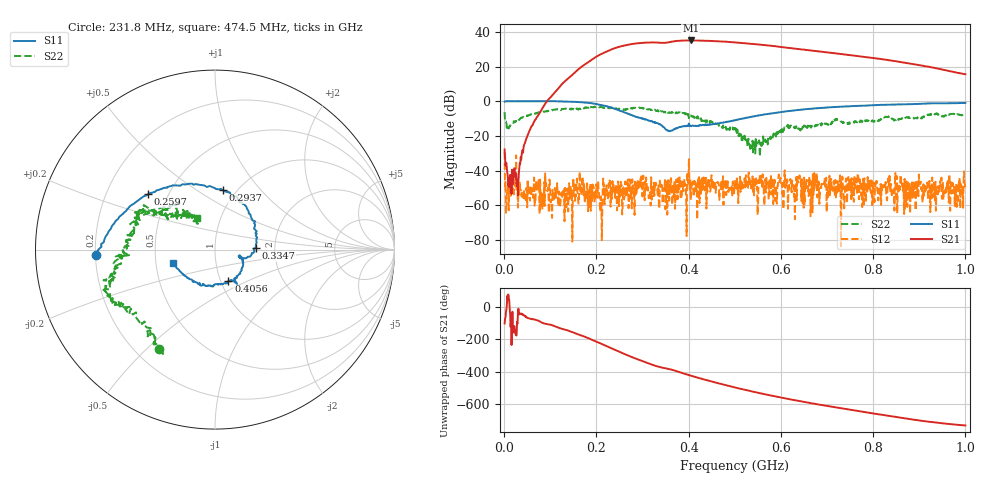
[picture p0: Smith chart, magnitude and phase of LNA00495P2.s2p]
! Created with skrf 1.9.0 (http://scikit-rf.org).
# Hz S RI R 50.0
!freq ReS11 ImS11 ReS21 ImS21 ReS12 ImS12 ReS22 ImS22
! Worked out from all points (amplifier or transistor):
!   1001 points, 1 MHz to 1 GHz, reference 50 ohm
!   highest |S21| = 35.1 dB at 404.6 MHz (marker M1)
!   |S21| within 3 dB of that: 259.8 MHz to 576.2 MHz (316.3 MHz wide, 75.7 % of centre)
!   unconditionally stable (mu >= 1): 234.9 MHz to 301.7 MHz; 301.7 MHz to 396.5 MHz; 401.1 MHz to end of sweep (the widest 3 of 46)
!   at 166.8 MHz: K = 1.43, MAG = 32.7 dB, |S12| = -53.5 dB
!   at 500.5 MHz: K = 1.90, MAG = 34.5 dB, |S12| = -46.0 dB
!   at 1 GHz: K = 4.55, MAG = 23.4 dB, |S12| = -50.3 dB
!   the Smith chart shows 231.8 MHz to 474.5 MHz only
!   S11 on the Smith chart (normalised r, x): 231.8 MHz: 0.20, -0.02; 259.7 MHz: 0.39, +0.31; 293.7 MHz: 0.87, +0.65; 334.7 MHz: 1.59, +0.03; 405.6 MHz: 1.09, -0.40; 474.5 MHz: 0.62, -0.10
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1000000  0.9737 0.00212  -0.00837 -0.0399  -0.0334 -0.00239  0.3523 0.3315
1.08892e8  0.5305 -0.8447  -0.8174 -1.536  -0.00157 -0.00141  0.427 -0.3852
1.67833e8  -0.217 -0.9098  -9.904 -0.5819  0.00277 -0.00174  0.0348 -0.6397
2.06794e8  -0.6528 -0.4616  -16.11 14.7  -0.00147 0.000533  -0.1891 -0.6392
2.31769e8  -0.6613 -0.0311  -8.189 29.75  -0.00261 0.00196  -0.3114 -0.5528
2.59741e8  -0.3723 0.3092  13.64 37.85  0.000587 0.00133  -0.4089 -0.3999
2.93707e8  0.0436 0.3315  40.6 24.82  -0.00195 0.00243  -0.613 -0.2405
3.13687e8  0.1953 0.1974  48.88 8.189  -0.000706 0.00141  -0.5776 -0.1466
3.34666e8  0.2274 0.00811  48.46 -8.509  7.12e-05 0.00372  -0.5069 -0.0416
3.71629e8  0.1543 -0.0545  44.4 -31.69  -0.0012 0.00413  -0.4187 0.1652
4.04596e8  0.0865 -0.1713  23.75 -51.68  -0.00111 0.000861  -0.3402 0.1975
4.05595e8  0.0748 -0.1756  23.03 -51.92  0.00287 0.000312  -0.3239 0.1948
4.39561e8  -0.087 -0.1858  -3.382 -55.42  0.00386 -0.000269  -0.1796 0.2214
4.74526e8  -0.2327 -0.0742  -26.49 -45.64  0.00433 0.00533  -0.1004 0.174
5.005e8  -0.2751 0.0528  -37.53 -33.31  -0.00497 0.000797  -0.1066 0.1472
5.33467e8  -0.2577 0.2341  -43.01 -15.51  0.00225 -0.0032  -0.0314 0.0293
5.64436e8  -0.17 0.3783  -41.78 -0.0665  -0.000676 0.00073  -0.0789 -0.0321
6.11389e8  0.0309 0.5088  -31.49 16.08  0.00455 -0.0029  -0.1764 -0.0842
6.67333e8  0.2967 0.5341  -15.77 24.15  0.00364 -0.00317  -0.1847 -0.0532
7.55245e8  0.6197 0.3763  3.171 20.74  -0.00325 -0.0029  -0.2459 -0.00111
8.34166e8  0.7782 0.1519  10.72 10.94  -0.00231 -0.00284  -0.331 -0.0355
1e9  0.8162 -0.3732  5.851 -1.436  -0.000736 -0.00295  -0.3419 0.2596
